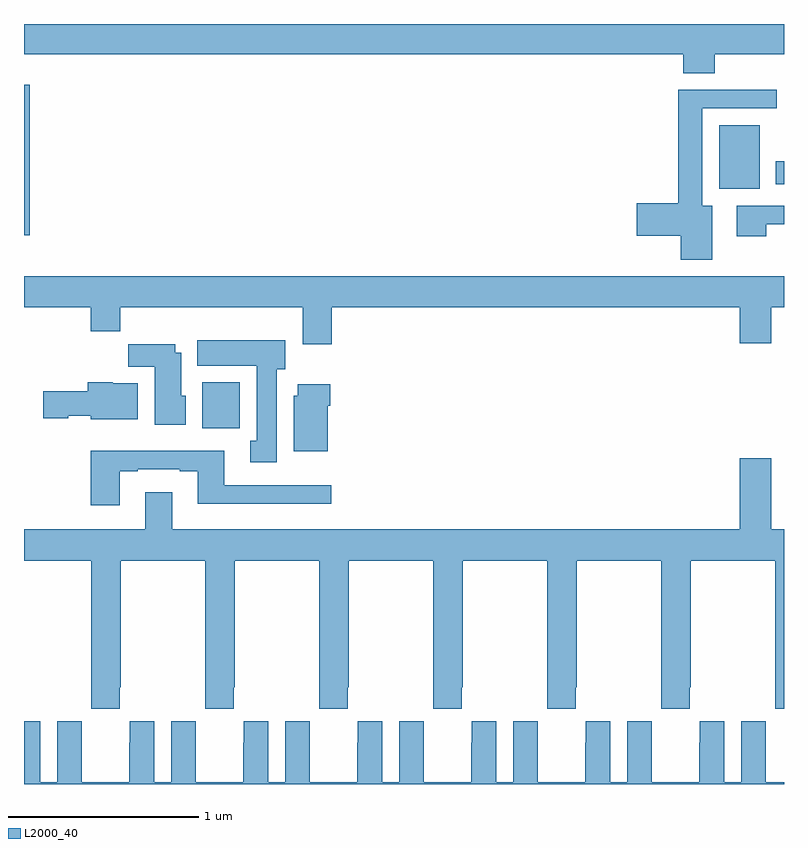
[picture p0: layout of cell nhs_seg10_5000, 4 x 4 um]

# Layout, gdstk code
import gdstk
lib = gdstk.Library(unit=1e-6, precision=1e-09)
def R(c, l, rs):  # rectangles x0, y0, x1, y1
    for r in rs: c.add(gdstk.rectangle(r[:2], r[2:], *l))
def P(c, l, *ps):  # polygons
    for p in ps: c.add(gdstk.Polygon(p, *l))
L2000_40 = (2000, 40)

nhs_seg10_5000 = lib.new_cell('nhs_seg10_5000')
R(nhs_seg10_5000, L2000_40, [(401.939,1274.372,402.136,1274.614), (401,1275.389,401.029,1276.18), (404.66,1275.632,404.872,1275.967), (404.957,1275.656,405,1275.778)])
P(nhs_seg10_5000, L2000_40, [(401,1276.34),(404.471,1276.34),(404.471,1276.241),(404.636,1276.241),(404.636,1276.34),(405,1276.34),(405,1276.5),(401,1276.5)],
  [(404.623,1275.544),(404.569,1275.544),(404.569,1276.056),(404.962,1276.056),(404.962,1276.154),(404.444,1276.154),(404.444,1275.557),(404.226,1275.557),(404.226,1275.386),(404.456,1275.386),(404.456,1275.258),(404.623,1275.258)],
  [(404.907,1275.447),(405,1275.447),(405,1275.543),(404.751,1275.543),(404.751,1275.384),(404.907,1275.384)],
  [(402.62,1275.008),(404.768,1275.008),(404.768,1274.82),(404.932,1274.82),(404.932,1275.008),(405,1275.008),(405,1275.172),(401,1275.172),(401,1275.008),(401.351,1275.008),(401.351,1274.884),(401.507,1274.884),(401.507,1275.008),(402.467,1275.008),(402.467,1274.814),(402.62,1274.814)],
  [(402.331,1274.682),(402.376,1274.682),(402.376,1274.836),(401.912,1274.836),(401.912,1274.702),(402.224,1274.702),(402.224,1274.306),(402.191,1274.306),(402.191,1274.193),(402.331,1274.193)],
  [(401.851,1274.544),(401.827,1274.544),(401.827,1274.77),(401.797,1274.77),(401.797,1274.815),(401.548,1274.815),(401.548,1274.696),(401.687,1274.696),(401.687,1274.39),(401.851,1274.39)],
  [(401.599,1274.608),(401.466,1274.608),(401.466,1274.614),(401.336,1274.614),(401.336,1274.568),(401.1,1274.568),(401.1,1274.426),(401.232,1274.426),(401.232,1274.438),(401.352,1274.438),(401.352,1274.42),(401.599,1274.42)],
  [(402.598,1274.492),(402.611,1274.492),(402.611,1274.605),(402.44,1274.605),(402.44,1274.544),(402.419,1274.544),(402.419,1274.252),(402.598,1274.252)],
  [(401.503,1274.145),(401.599,1274.145),(401.599,1274.157),(401.819,1274.157),(401.819,1274.145),(401.915,1274.145),(401.915,1273.976),(402.616,1273.976),(402.616,1274.073),(402.055,1274.073),(402.055,1274.254),(401.351,1274.254),(401.351,1273.968),(401.503,1273.968)],
  [(401.505,1273.009),(401.508,1273.009),(401.508,1273.676),(401.953,1273.676),(401.953,1273.009),(401.955,1273.009),(401.955,1272.897),(402.105,1272.897),(402.105,1273.009),(402.108,1273.009),(402.108,1273.676),(402.553,1273.676),(402.553,1273.009),(402.555,1273.009),(402.555,1272.897),(402.705,1272.897),(402.705,1273.009),(402.708,1273.009),(402.708,1273.676),(403.153,1273.676),(403.153,1273.009),(403.155,1273.009),(403.155,1272.897),(403.305,1272.897),(403.305,1273.009),(403.308,1273.009),(403.308,1273.676),(403.753,1273.676),(403.753,1273.009),(403.755,1273.009),(403.755,1272.897),(403.905,1272.897),(403.905,1273.009),(403.908,1273.009),(403.908,1273.676),(404.353,1273.676),(404.353,1273.009),(404.355,1273.009),(404.355,1272.897),(404.505,1272.897),(404.505,1273.009),(404.508,1273.009),(404.508,1273.676),(404.953,1273.676),(404.953,1273.009),(404.955,1273.009),(404.955,1272.897),(405,1272.897),(405,1273.84),(404.932,1273.84),(404.932,1274.215),(404.768,1274.215),(404.768,1273.84),(401.779,1273.84),(401.779,1274.035),(401.639,1274.035),(401.639,1273.84),(401,1273.84),(401,1273.676),(401.353,1273.676),(401.353,1273.009),(401.355,1273.009),(401.355,1272.897),(401.505,1272.897)],
  [(405,1272.508),(404.905,1272.508),(404.905,1272.716),(404.904,1272.716),(404.904,1272.829),(404.774,1272.829),(404.774,1272.508),(404.686,1272.508),(404.686,1272.829),(404.556,1272.829),(404.556,1272.716),(404.555,1272.716),(404.555,1272.508),(404.305,1272.508),(404.305,1272.716),(404.304,1272.716),(404.304,1272.829),(404.174,1272.829),(404.174,1272.508),(404.086,1272.508),(404.086,1272.829),(403.956,1272.829),(403.956,1272.716),(403.955,1272.716),(403.955,1272.508),(403.705,1272.508),(403.705,1272.716),(403.704,1272.716),(403.704,1272.829),(403.574,1272.829),(403.574,1272.508),(403.486,1272.508),(403.486,1272.829),(403.356,1272.829),(403.356,1272.716),(403.355,1272.716),(403.355,1272.508),(403.105,1272.508),(403.105,1272.716),(403.104,1272.716),(403.104,1272.829),(402.974,1272.829),(402.974,1272.508),(402.886,1272.508),(402.886,1272.829),(402.756,1272.829),(402.756,1272.716),(402.755,1272.716),(402.755,1272.508),(402.505,1272.508),(402.505,1272.716),(402.504,1272.716),(402.504,1272.829),(402.374,1272.829),(402.374,1272.508),(402.286,1272.508),(402.286,1272.829),(402.156,1272.829),(402.156,1272.716),(402.155,1272.716),(402.155,1272.508),(401.905,1272.508),(401.905,1272.716),(401.904,1272.716),(401.904,1272.829),(401.774,1272.829),(401.774,1272.508),(401.686,1272.508),(401.686,1272.829),(401.556,1272.829),(401.556,1272.716),(401.555,1272.716),(401.555,1272.508),(401.305,1272.508),(401.305,1272.716),(401.304,1272.716),(401.304,1272.829),(401.174,1272.829),(401.174,1272.508),(401.086,1272.508),(401.086,1272.829),(401,1272.829),(401,1272.5),(405,1272.5)])

lib.write_gds('nhs_seg10_5000.gds')
